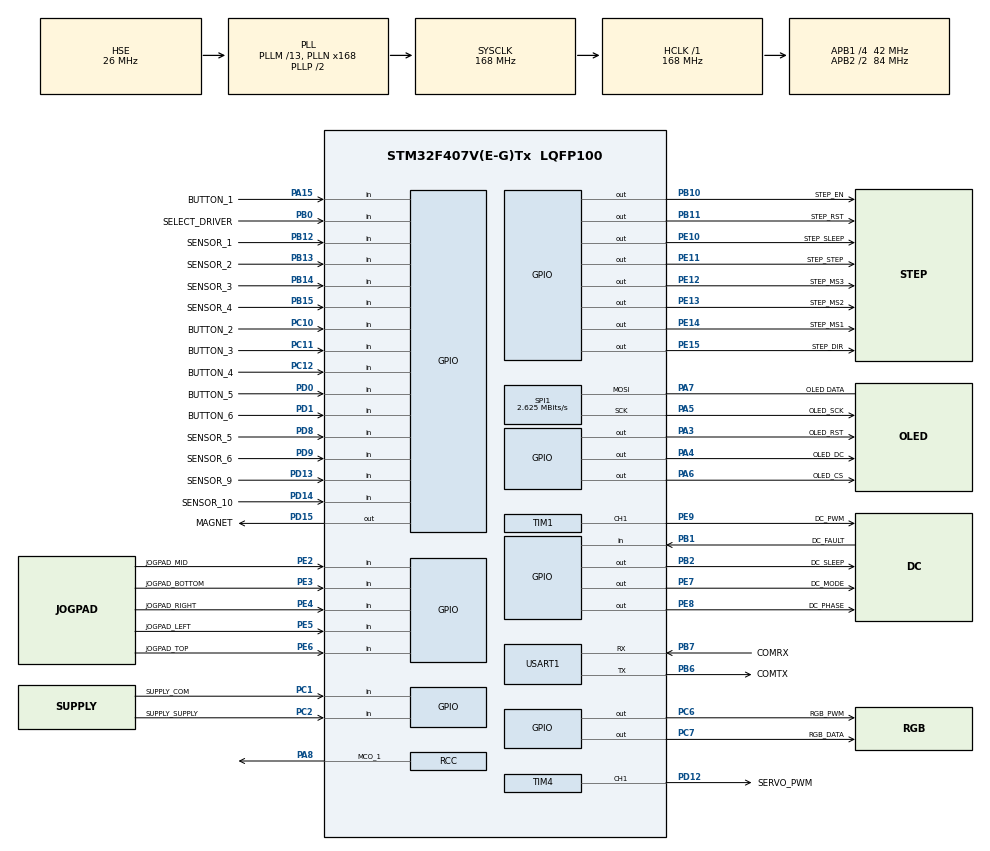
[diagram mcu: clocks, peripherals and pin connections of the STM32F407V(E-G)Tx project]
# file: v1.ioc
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Mcu.Family=STM32F4
Mcu.Name=STM32F407V(E-G)Tx
Mcu.Package=LQFP100
NVIC.PriorityGroup=NVIC_PRIORITYGROUP_4
NVIC.USART1_IRQn=true\:0\:0\:false\:true\:true\:1\:true\:true
PA13.Mode=Serial_Wire
PA13.Signal=SYS_JTMS-SWDIO
PA14.Mode=Serial_Wire
PA14.Signal=SYS_JTCK-SWCLK
PA15.GPIO_Label=BUTTON_1
PA15.GPIO_PuPd=GPIO_PULLDOWN
PA15.Signal=GPIO_Input
PA3.GPIO_Label=OLED_RST
PA3.GPIO_Speed=GPIO_SPEED_FREQ_MEDIUM
PA3.Signal=GPIO_Output
PA4.GPIO_Label=OLED_DC
PA4.GPIO_Speed=GPIO_SPEED_FREQ_MEDIUM
PA4.Signal=GPIO_Output
PA5.GPIO_Label=OLED_SCK
PA5.Mode=Simplex_Bidirectional_Master
PA5.Signal=SPI1_SCK
PA6.GPIO_Label=OLED_CS
PA6.GPIO_Speed=GPIO_SPEED_FREQ_MEDIUM
PA6.Signal=GPIO_Output
PA7.GPIO_Label=OLED DATA
PA7.Mode=Simplex_Bidirectional_Master
PA7.Signal=SPI1_MOSI
PA8.Mode=Clock-out-1
PA8.Signal=RCC_MCO_1
PB0.GPIO_Label=SELECT_DRIVER
PB0.GPIO_PuPd=GPIO_PULLDOWN
PB0.Signal=GPIO_Input
PB1.GPIO_Label=DC_FAULT
PB1.GPIO_PuPd=GPIO_PULLDOWN
PB1.Signal=GPIO_Input
PB10.GPIO_Label=STEP_EN
PB10.Signal=GPIO_Output
PB11.GPIO_Label=STEP_RST
PB11.Signal=GPIO_Output
PB12.GPIO_Label=SENSOR_1
PB12.GPIO_PuPd=GPIO_PULLDOWN
PB12.Signal=GPIO_Input
PB13.GPIO_Label=SENSOR_2
PB13.GPIO_PuPd=GPIO_PULLDOWN
PB13.Signal=GPIO_Input
PB14.GPIO_Label=SENSOR_3
PB14.GPIO_PuPd=GPIO_PULLDOWN
PB14.Signal=GPIO_Input
PB15.GPIO_Label=SENSOR_4
PB15.GPIO_PuPd=GPIO_PULLDOWN
PB15.Signal=GPIO_Input
PB2.GPIO_Label=DC_SLEEP
PB2.Signal=GPIO_Output
PB6.GPIO_Label=COMTX
PB6.Mode=Asynchronous
PB6.Signal=USART1_TX
PB7.GPIO_Label=COMRX
PB7.Mode=Asynchronous
PB7.Signal=USART1_RX
PC1.GPIO_Label=SUPPLY_COM
PC1.GPIO_PuPd=GPIO_PULLDOWN
PC1.Signal=GPIO_Input
PC10.GPIO_Label=BUTTON_2
PC10.GPIO_PuPd=GPIO_PULLDOWN
PC10.Signal=GPIO_Input
PC11.GPIO_Label=BUTTON_3
PC11.GPIO_PuPd=GPIO_PULLDOWN
PC11.Signal=GPIO_Input
PC12.GPIO_Label=BUTTON_4
PC12.GPIO_PuPd=GPIO_PULLDOWN
PC12.Signal=GPIO_Input
PC2.GPIO_Label=SUPPLY_SUPPLY
PC2.GPIO_PuPd=GPIO_PULLDOWN
PC2.Signal=GPIO_Input
PC6.GPIO_Label=RGB_PWM
PC6.GPIO_Speed=GPIO_SPEED_FREQ_VERY_HIGH
PC6.Signal=GPIO_Output
PC7.GPIO_Label=RGB_DATA
PC7.GPIO_Speed=GPIO_SPEED_FREQ_VERY_HIGH
PC7.Signal=GPIO_Output
PD0.GPIO_Label=BUTTON_5
PD0.GPIO_PuPd=GPIO_PULLDOWN
PD0.Signal=GPIO_Input
PD1.GPIO_Label=BUTTON_6
PD1.GPIO_PuPd=GPIO_PULLDOWN
PD1.Signal=GPIO_Input
PD12.GPIO_Label=SERVO_PWM
PD12.GPIO_Speed=GPIO_SPEED_FREQ_HIGH
PD12.Signal=S_TIM4_CH1
PD13.GPIO_Label=SENSOR_9
PD13.GPIO_PuPd=GPIO_PULLDOWN
PD13.Signal=GPIO_Input
PD14.GPIO_Label=SENSOR_10
PD14.GPIO_PuPd=GPIO_PULLDOWN
PD14.Signal=GPIO_Input
PD15.GPIO_Label=MAGNET
PD15.Signal=GPIO_Output
PD8.GPIO_Label=SENSOR_5
PD8.GPIO_PuPd=GPIO_PULLDOWN
PD8.Signal=GPIO_Input
PD9.GPIO_Label=SENSOR_6
PD9.GPIO_PuPd=GPIO_PULLDOWN
PD9.Signal=GPIO_Input
PE10.GPIO_Label=STEP_SLEEP
PE10.Signal=GPIO_Output
PE11.GPIO_Label=STEP_STEP
PE11.GPIO_Speed=GPIO_SPEED_FREQ_HIGH
PE11.Signal=GPIO_Output
PE12.GPIO_Label=STEP_MS3
PE12.GPIO_Speed=GPIO_SPEED_FREQ_LOW
PE12.Signal=GPIO_Output
PE13.GPIO_Label=STEP_MS2
PE13.Signal=GPIO_Output
PE14.GPIO_Label=STEP_MS1
PE14.Signal=GPIO_Output
PE15.GPIO_Label=STEP_DIR
PE15.Signal=GPIO_Output
PE2.GPIO_Label=JOGPAD_MID
PE2.GPIO_PuPd=GPIO_PULLDOWN
PE2.Signal=GPIO_Input
PE3.GPIO_Label=JOGPAD_BOTTOM
PE3.GPIO_PuPd=GPIO_PULLDOWN
PE3.Signal=GPIO_Input
PE4.GPIO_Label=JOGPAD_RIGHT
PE4.GPIO_PuPd=GPIO_PULLDOWN
PE4.Signal=GPIO_Input
PE5.GPIO_Label=JOGPAD_LEFT
PE5.GPIO_PuPd=GPIO_PULLDOWN
PE5.Signal=GPIO_Input
PE6.GPIO_Label=JOGPAD_TOP
PE6.GPIO_PuPd=GPIO_PULLDOWN
PE6.Signal=GPIO_Input
PE7.GPIO_Label=DC_MODE
PE7.Signal=GPIO_Output
PE8.GPIO_Label=DC_PHASE
PE8.Signal=GPIO_Output
PE9.GPIO_Label=DC_PWM
PE9.GPIO_Speed=GPIO_SPEED_FREQ_HIGH
PE9.Signal=S_TIM1_CH1
PH0-OSC_IN.Mode=HSE-External-Oscillator
PH0-OSC_IN.Signal=RCC_OSC_IN
PH1-OSC_OUT.Mode=HSE-External-Oscillator
PH1-OSC_OUT.Signal=RCC_OSC_OUT
ProjectManager.HeapSize=0x200
ProjectManager.StackSize=0x400
ProjectManager.TargetToolchain=SW4STM32
RCC.48MHZClocksFreq_Value=48000000
RCC.AHBFreq_Value=168000000
RCC.APB1CLKDivider=RCC_HCLK_DIV4
RCC.APB1Freq_Value=42000000
RCC.APB1TimFreq_Value=84000000
RCC.APB2CLKDivider=RCC_HCLK_DIV2
RCC.APB2Freq_Value=84000000
RCC.APB2TimFreq_Value=168000000
RCC.CortexFreq_Value=168000000
RCC.HCLKFreq_Value=168000000
RCC.HSE_VALUE=26000000
RCC.HSI_VALUE=16000000
RCC.LSE_VALUE=32768
RCC.PLLM=13
RCC.PLLN=168
RCC.PLLQ=7
RCC.PLLSourceVirtual=RCC_PLLSOURCE_HSE
RCC.SYSCLKFreq_VALUE=168000000
RCC.SYSCLKSource=RCC_SYSCLKSOURCE_PLLCLK
RCC.VCOOutputFreq_Value=336000000
SH.S_TIM1_CH1.0=TIM1_CH1,PWM Generation1 CH1
SH.S_TIM4_CH1.0=TIM4_CH1,PWM Generation1 CH1
SPI1.BaudRatePrescaler=SPI_BAUDRATEPRESCALER_32
SPI1.CalculateBaudRate=2.625 MBits/s
SPI1.Direction=SPI_DIRECTION_1LINE
SPI1.Mode=SPI_MODE_MASTER
SPI1.VirtualType=VM_MASTER
TIM1.Channel-PWM\ Generation1\ CH1=TIM_CHANNEL_1
TIM4.Channel-PWM\ Generation1\ CH1=TIM_CHANNEL_1
TIM4.Period=100
TIM4.Prescaler=84
USART1.VirtualMode=VM_ASYNC
VP_RNG_VS_RNG.Mode=RNG_Activate
VP_TIM1_VS_ClockSourceINT.Mode=Internal
VP_TIM4_VS_ClockSourceINT.Mode=Internal
board=custom

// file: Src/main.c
/* USER CODE BEGIN Header */
/**
  ******************************************************************************
  * @file           : main.c
  * @brief          : Main program body
  ******************************************************************************
  * @attention
  *
  * <h2><center>&copy; Copyright (c) 2020 STMicroelectronics.
  * All rights reserved.</center></h2>
  *
  * This software component is licensed by ST under BSD 3-Clause license,
  * the "License"; You may not use this file except in compliance with the
  * License. You may obtain a copy of the License at:
  *                        opensource.org/licenses/BSD-3-Clause
  *
  ******************************************************************************
  */
/* USER CODE END Header */
#include "main.h"

/* USER CODE BEGIN Includes */
#include <stdio.h>
#include "ssd1351.h"
#include "gfx.h"
#include "menu.h"
#include "COM.h"
#include "buttons.h"
#include "tlc5971.h"
#include "rng.h"
#include "motor.h"
#include "FLASH_SECTOR.h"
/* USER CODE END Includes */

RNG_HandleTypeDef hrng;

SPI_HandleTypeDef hspi1;

TIM_HandleTypeDef htim1;
TIM_HandleTypeDef htim4;

UART_HandleTypeDef huart1;

void SystemClock_Config(void);
static void MX_GPIO_Init(void);
static void MX_RNG_Init(void);
static void MX_SPI1_Init(void);
static void MX_TIM1_Init(void);
static void MX_TIM4_Init(void);
static void MX_USART1_UART_Init(void);
static void MX_NVIC_Init(void);
/* USER CODE BEGIN PFP */
void pin_cs(uint8_t pinstate);
void pin_dc(uint8_t pinstate);
void pin_rs(uint8_t pinstate);
void transmit_data(uint8_t *data, uint32_t len);
void user_delay_ms(uint32_t period);
/* USER CODE END PFP */

/* USER CODE BEGIN 0 */
char SUPPLY = 0; //COM = 0, SUPPLY = 1

//uint32_t Rx_Data[10];
char string[40];
/* USER CODE END 0 */

int main(void)
{
	/* USER CODE BEGIN 1 */
	char tempString[1];

	uint8_t method = 0;

	uint8_t RNG_Number[] = {0,0,0,0,0,0,0,0,0,0};

	uint16_t counter = 0;

	uint8_t BoxButtonPushed = 0;

	//uint32_t Rx_Data[10];
	//uint32_t data[] = {0xAAAAAAAA,0xAAAAAAAA,0xAAAAAAAA,0xAAAAAAAA};
	uint32_t data[] = {0xAAAAAAAA,0xAAAAAAAA,0xBBBBBBBB};

	uint8_t temp;
	char i = 0;

	char rightLED = 0;
	/* 0: amount led
	 * 1: right led
	 * 2: amount motor
	 * 3: right motor
	 */

	/* USER CODE END 1 */

	/* MCU Configuration--------------------------------------------------------*/

	/* Reset of all peripherals, Initializes the Flash interface and the Systick. */
	HAL_Init();

	/* Configure the system clock */
	SystemClock_Config();

	/* Initialize all configured peripherals */
	MX_GPIO_Init();
	MX_RNG_Init();
	MX_SPI1_Init();
	MX_TIM1_Init();
	MX_TIM4_Init();
	MX_USART1_UART_Init();

	/* Initialize interrupts */
	MX_NVIC_Init();
	/* USER CODE BEGIN 2 */
	HAL_GPIO_WritePin(GPIOB,GPIO_PIN_6,GPIO_PIN_RESET);

	//SETUP

	/*Flash_Read_Data(0x08060000, data);
	if(data[2] == 0)
	{
		data[0] = 0xAAAAAAAA;
		data[1] = 0xAAAAAAAA;
		//data[2] = 0xAAAAAAAA;
		//data[3] = 0xAAAAAAAA;
		Flash_Write_Data(0x08060000, data);
	}

	//TEMP--------------------------------------
	data[0] = 0xAAAAAAAA + 100;
	data[1] = 0xAAAAAAAA + 55;
	//data[2] = 0xAAAAAAAA + 100;
	//data[3] = 0xAAAAAAAA + 44;
	//------------------------------------------

	//data[0] += 10;

	Flash_Write_Data(0x08060000, data);
	Flash_Read_Data(0x08060000, data);
	//Convert_To_Str(Rx_Data, string);
	/* */
	//while(1);
	/*
	int c = 0;

	COM_TX("DONE\r\n");

*//*
	Stepper_Init();
	Stepper_GOHOME();
	HAL_Delay(500);
	StepperGetMagnet();
	magnet(0);
	Stepper_Deinit();
	while(1);
*/

	s_ssd1351 fnptrs_main;

	fnptrs_main.pin_cs = pin_cs;
	fnptrs_main.pin_rs = pin_rs;
	fnptrs_main.pin_dc = pin_dc;
	fnptrs_main.transmit_data = transmit_data;
	fnptrs_main.delay = user_delay_ms;

	init_oled(1,1, &fnptrs_main);

	RGB_setLED(1,30000,2000,30000);
	RGB_setLED(2,30000,2000,30000);
	RGB_setLED(3,30000,2000,30000);
	RGB_setLED(4,30000,2000,30000);
	RGB_setLED(5,30000,2000,30000);
	RGB_setLED(6,30000,2000,30000);
	RGB_setLED(7,0,0,0);
	RGB_setLED(8,0,0,0);

	RGB_Setup();
	RGB_SHOW();

	COM_TX("START\r\n");

	SetMenu(4);
	HAL_Delay(1000);

	if(HAL_GPIO_ReadPin(SUPPLY_SUPPLY_GPIO_Port,SUPPLY_SUPPLY_Pin))
	{
		SetMenu(1);
		Servo_init();
	}
	else
	{
		SetMenu(7);
	}

	/* USER CODE END 2 */

	/* Infinite loop */
	while (1)
	{
		Button_manager(ReadJogpad());

		/*if(Menu_Flags(4,0))
		{
			method = 0;
		}*/
		if(Menu_Flags(3,0))
		{
			if(Menu_Flags(0,0))
			{
				method = 1;
			}
			else if(Menu_Flags(1,0))
			{
				method = 2;
			}
			else
			{
				method = 0;
			}
		}

		BoxButtonPushed = 0;

		switch(method)
		{
		//LEDS
		case 1:

			for(i = 0; i != 8; i ++)
			{
				RGB_setLED(i,0,0,0);
			}
			for(i=0; i != 4; i++)
			{
				RGB_setLED(1,12000,0,6000);
				RGB_SHOW();
				HAL_Delay(500);

				RGB_setLED(1,0,0,0);
				RGB_SHOW();
				HAL_Delay(500);
			}
			blankscreen(colors.blue);

			for(counter = 0; counter != 50; counter ++)
			{
				RNG_Prepare(RNG_Number);
				//Wrong
				/*
				RGB_setLED(1,RNG_Number[1]*10000,RNG_Number[1]*2000,0);
				RGB_setLED(2,RNG_Number[2]*10000,RNG_Number[2]*2000,0);
				RGB_setLED(3,RNG_Number[3]*10000,RNG_Number[3]*2000,0);
				RGB_setLED(4,RNG_Number[4]*10000,RNG_Number[4]*2000,0);
				RGB_setLED(5,RNG_Number[5]*10000,RNG_Number[5]*2000,0);
				RGB_setLED(6,RNG_Number[6]*10000,RNG_Number[6]*2000,0);
				*/
				RGB_setLED(1, RNG_Number[1]*RNG_Number[8]*1000,	RNG_Number[4]*RNG_Number[3]*1000,	RNG_Number[7]*RNG_Number[6]*1000);
				RGB_setLED(2, RNG_Number[2]*RNG_Number[7]*1000,	RNG_Number[5]*RNG_Number[2]*1000,	RNG_Number[8]*RNG_Number[5]*1000);
				RGB_setLED(3, RNG_Number[3]*RNG_Number[6]*1000,	RNG_Number[6]*RNG_Number[1]*1000,	RNG_Number[9]*RNG_Number[4]*1000);
				RGB_setLED(4, RNG_Number[4]*RNG_Number[1]*1000,	RNG_Number[7]*RNG_Number[4]*1000,	RNG_Number[0]*RNG_Number[3]*1000);
				RGB_setLED(5, RNG_Number[5]*RNG_Number[9]*1000,	RNG_Number[8]*RNG_Number[5]*1000,	RNG_Number[1]*RNG_Number[2]*1000);
				RGB_setLED(6, RNG_Number[6]*RNG_Number[4]*1000,	RNG_Number[9]*RNG_Number[6]*1000,	RNG_Number[2]*RNG_Number[1]*1000);
				RGB_setLED(7,0,0,0);
				RGB_setLED(8,0,0,0);

				/*
				RGB_setLED(1,30000,1000,0);
				RGB_setLED(2,30000,1000,0);
				RGB_setLED(3,30000,1000,0);
				RGB_setLED(4,30000,1000,0);
				RGB_setLED(5,30000,1000,0);
				RGB_setLED(6,30000,1000,0);*/
				//Right
				RGB_setLED(RNG_Number[0],RNG_Number[0]*6000,RNG_Number[0]*0,RNG_Number[0]*3000);
				RGB_SHOW();
				HAL_Delay(100);

				if(!(counter >= 49))
				{
					for(i = 0; i != 10; i++)
					{
						RNG_Number[i] = 0;
					}
				}
			}
			RGB_setLED(1,10000,2000,0);
			RGB_setLED(2,10000,2000,0);
			RGB_setLED(3,10000,2000,0);
			RGB_setLED(4,10000,2000,0);
			RGB_setLED(5,10000,2000,0);
			RGB_setLED(6,10000,2000,0);
			//Right
			RGB_setLED(RNG_Number[0],10000,2000,0);
			RGB_SHOW();
			SetMenu(8);
			COM_TX("[LED]: Right: ");
			sprintf(tempString, "%i", (int)RNG_Number[0]);
			COM_TX(tempString);
			COM_TX("\r\n");

			/*
			while(!BoxButtonPushed)
			{
				for(counter = 1; counter <= 6; counter++ )
				{
					if(ReadButtons(counter))
					{
						BoxButtonPushed = 1;
						break;
					}
				}
			}*/

			while(!BoxButtonPushed)
			{
				for(counter = 1; counter <= 6; counter++ )
				{
					if(ReadButtons(counter))
					{
						BoxButtonPushed = 1;
						break;
					}
				}
			}
			COM_TX("[LED]: Guessed: ");
			sprintf(tempString, "%i", (int)counter);
			COM_TX(tempString);
			COM_TX("\r\n");

			temp = counter;
			for(counter = 1; counter <= 8; counter++ )
			{
				RGB_setLED(counter,0,0,0);
			}
			RGB_setLED(temp,0,0,30000);
			RGB_SHOW();
			HAL_Delay(3000);

			//true
			if(counter == RNG_Number[0])
			{
				RGB_setLED(counter,0,30000,0);

			}
			//wrong
			else
			{
				//uint8_t temp = counter;
				for(counter = 1; counter <= 8; counter++ )
				{
					RGB_setLED(counter,0,0,0);
				}
				RGB_setLED(temp,30000,0,0);
				RGB_setLED(RNG_Number[0],0,30000,0);
			}
			RGB_SHOW();

			/*
			if(HAL_GPIO_ReadPin(SUPPLY_SUPPLY_GPIO_Port,SUPPLY_SUPPLY_Pin))
			{
				SetMenu(1);
			}
			else
			{
				SetMenu(7);
			}*/
			Menu_Flags(0,1);
			SetMenu(2);
			method = 0;

			break;
		//MOTOR
		case 2:

			/*
			0: move 1
			1: move 2
			2: move 3
			3: move 4
			4: move 5
			5: move 6
			6: start
			7: moves
			8: drop
			*/

			RNG_Prepare(RNG_Number);
//////////////////////////////////////////
			//while(1);
//////////////////////////////////////////
			Servo_close();
			Stepper_Init();
			Stepper_StepSize(1);
			Stepper_GOHOME();
			HAL_Delay(500);
			StepperGetMagnet();
			Stepper_Deinit();

			Stepper_StepSize(1);
			HAL_Delay(100);

			for(i = 0; i != 8; i ++)
			{
				RGB_setLED(i,0,0,0);
			}
			for(i=0; i != 4; i++)
			{
				RGB_setLED(1,12000,0,6000);
				RGB_SHOW();
				HAL_Delay(500);

				RGB_setLED(1,0,0,0);
				RGB_SHOW();
				HAL_Delay(500);
			}
			blankscreen(colors.blue);

			COM_TX("[MOTOR]: Right: ");
			sprintf(tempString, "%i", (int)RNG_Number[8]);
			COM_TX(tempString);
			COM_TX("\r\n");
			Stepper_Init();
			HAL_Delay(200);
			Stepper_Goto(RNG_Number[6]);

			HAL_Delay(100);
			//for(counter = 0; counter != RNG_Number[7]; counter++ )
			for(counter = 0; counter != 6; counter++ )
			{
				Stepper_Goto(RNG_Number[counter]);
				if(RNG_Number[8] - 1  == counter)
				{
					magnet(0);
					rightLED = RNG_Number[counter];
					//HAL_Delay(1000);
				}
				HAL_Delay(300);
			}

			Stepper_Deinit();
			char c;

			for(c = 1; c!= 7; c++)
			{
				RGB_setLED(c,10000,2000,0);
			}

			RGB_setLED(7,0,0,0);
			RGB_setLED(8,0,0,0);
			RGB_SHOW();

			SetMenu(8);

			while(!BoxButtonPushed)
			{
				for(counter = 1; counter <= 6; counter++ )
				{
					if(ReadButtons(counter))
					{
						BoxButtonPushed = 1;
						break;
					}
				}
			}

			COM_TX("[MOTOR]: Guessed: ");
			sprintf(tempString, "%i", (int)counter);
			COM_TX(tempString);
			COM_TX("\r\n");

			temp = counter;
			for(counter = 1; counter <= 8; counter++ )
			{
				RGB_setLED(counter,0,0,0);
			}
			RGB_setLED(temp,0,0,30000);
			RGB_SHOW();
			HAL_Delay(3000);

			Servo_open();
			//true
			//if(temp == RNG_Number[RNG_Number[8]-1])
			if(temp == rightLED)
			{
				RGB_setLED(temp,0,30000,0);

			}
			//wrong
			else
			{
				//uint8_t temp = counter;
				for(counter = 1; counter <= 8; counter++ )
				{
					RGB_setLED(counter,0,0,0);
				}
				RGB_setLED(temp,30000,0,0);
				RGB_setLED(RNG_Number[0],0,30000,0);
			}
			RGB_SHOW();

			/*if(HAL_GPIO_ReadPin(SUPPLY_SUPPLY_GPIO_Port,SUPPLY_SUPPLY_Pin))
			{
				SetMenu(1);
			}
			else
			{
				SetMenu(7);
			}*/

			Menu_Flags(1,1);
			SetMenu(2);
			method = 0;
			break;
		default:
			break;
		}
		counter = 0;
	}
}

void SystemClock_Config(void)
{
  RCC_OscInitTypeDef RCC_OscInitStruct = {0};
  RCC_ClkInitTypeDef RCC_ClkInitStruct = {0};

  /** Configure the main internal regulator output voltage
  */
  __HAL_RCC_PWR_CLK_ENABLE();
  __HAL_PWR_VOLTAGESCALING_CONFIG(PWR_REGULATOR_VOLTAGE_SCALE1);
  /** Initializes the RCC Oscillators according to the specified parameters
  * in the RCC_OscInitTypeDef structure.
  */
  RCC_OscInitStruct.OscillatorType = RCC_OSCILLATORTYPE_HSI|RCC_OSCILLATORTYPE_HSE;
  RCC_OscInitStruct.HSEState = RCC_HSE_ON;
  RCC_OscInitStruct.HSIState = RCC_HSI_ON;
  RCC_OscInitStruct.HSICalibrationValue = RCC_HSICALIBRATION_DEFAULT;
  RCC_OscInitStruct.PLL.PLLState = RCC_PLL_ON;
  RCC_OscInitStruct.PLL.PLLSource = RCC_PLLSOURCE_HSE;
  RCC_OscInitStruct.PLL.PLLM = 13;
  RCC_OscInitStruct.PLL.PLLN = 168;
  RCC_OscInitStruct.PLL.PLLP = RCC_PLLP_DIV2;
  RCC_OscInitStruct.PLL.PLLQ = 7;
  if (HAL_RCC_OscConfig(&RCC_OscInitStruct) != HAL_OK)
  {
    Error_Handler();
  }
  /** Initializes the CPU, AHB and APB buses clocks
  */
  RCC_ClkInitStruct.ClockType = RCC_CLOCKTYPE_HCLK|RCC_CLOCKTYPE_SYSCLK
                              |RCC_CLOCKTYPE_PCLK1|RCC_CLOCKTYPE_PCLK2;
  RCC_ClkInitStruct.SYSCLKSource = RCC_SYSCLKSOURCE_PLLCLK;
  RCC_ClkInitStruct.AHBCLKDivider = RCC_SYSCLK_DIV1;
  RCC_ClkInitStruct.APB1CLKDivider = RCC_HCLK_DIV4;
  RCC_ClkInitStruct.APB2CLKDivider = RCC_HCLK_DIV2;

  if (HAL_RCC_ClockConfig(&RCC_ClkInitStruct, FLASH_LATENCY_5) != HAL_OK)
  {
    Error_Handler();
  }
  HAL_RCC_MCOConfig(RCC_MCO1, RCC_MCO1SOURCE_HSI, RCC_MCODIV_1);
}

/**
  * @brief NVIC Configuration.
  * @retval None
  */
static void MX_NVIC_Init(void)
{
  /* USART1_IRQn interrupt configuration */
  HAL_NVIC_SetPriority(USART1_IRQn, 0, 0);
  HAL_NVIC_EnableIRQ(USART1_IRQn);
}

static void MX_RNG_Init(void)
{

  hrng.Instance = RNG;
  if (HAL_RNG_Init(&hrng) != HAL_OK)
  {
    Error_Handler();
  }

}

static void MX_SPI1_Init(void)
{

  /* SPI1 parameter configuration*/
  hspi1.Instance = SPI1;
  hspi1.Init.Mode = SPI_MODE_MASTER;
  hspi1.Init.Direction = SPI_DIRECTION_1LINE;
  hspi1.Init.DataSize = SPI_DATASIZE_8BIT;
  hspi1.Init.CLKPolarity = SPI_POLARITY_LOW;
  hspi1.Init.CLKPhase = SPI_PHASE_1EDGE;
  hspi1.Init.NSS = SPI_NSS_SOFT;
  hspi1.Init.BaudRatePrescaler = SPI_BAUDRATEPRESCALER_32;
  hspi1.Init.FirstBit = SPI_FIRSTBIT_MSB;
  hspi1.Init.TIMode = SPI_TIMODE_DISABLE;
  hspi1.Init.CRCCalculation = SPI_CRCCALCULATION_DISABLE;
  hspi1.Init.CRCPolynomial = 10;
  if (HAL_SPI_Init(&hspi1) != HAL_OK)
  {
    Error_Handler();
  }

}

static void MX_TIM1_Init(void)
{

  TIM_ClockConfigTypeDef sClockSourceConfig = {0};
  TIM_MasterConfigTypeDef sMasterConfig = {0};
  TIM_OC_InitTypeDef sConfigOC = {0};
  TIM_BreakDeadTimeConfigTypeDef sBreakDeadTimeConfig = {0};

  htim1.Instance = TIM1;
  htim1.Init.Prescaler = 0;
  htim1.Init.CounterMode = TIM_COUNTERMODE_UP;
  htim1.Init.Period = 65535;
  htim1.Init.ClockDivision = TIM_CLOCKDIVISION_DIV1;
  htim1.Init.RepetitionCounter = 0;
  htim1.Init.AutoReloadPreload = TIM_AUTORELOAD_PRELOAD_DISABLE;
  if (HAL_TIM_Base_Init(&htim1) != HAL_OK)
  {
    Error_Handler();
  }
  sClockSourceConfig.ClockSource = TIM_CLOCKSOURCE_INTERNAL;
  if (HAL_TIM_ConfigClockSource(&htim1, &sClockSourceConfig) != HAL_OK)
  {
    Error_Handler();
  }
  if (HAL_TIM_PWM_Init(&htim1) != HAL_OK)
  {
    Error_Handler();
  }
  sMasterConfig.MasterOutputTrigger = TIM_TRGO_RESET;
  sMasterConfig.MasterSlaveMode = TIM_MASTERSLAVEMODE_DISABLE;
  if (HAL_TIMEx_MasterConfigSynchronization(&htim1, &sMasterConfig) != HAL_OK)
  {
    Error_Handler();
  }
  sConfigOC.OCMode = TIM_OCMODE_PWM1;
  sConfigOC.Pulse = 0;
  sConfigOC.OCPolarity = TIM_OCPOLARITY_HIGH;
  sConfigOC.OCNPolarity = TIM_OCNPOLARITY_HIGH;
  sConfigOC.OCFastMode = TIM_OCFAST_DISABLE;
  sConfigOC.OCIdleState = TIM_OCIDLESTATE_RESET;
  sConfigOC.OCNIdleState = TIM_OCNIDLESTATE_RESET;
  if (HAL_TIM_PWM_ConfigChannel(&htim1, &sConfigOC, TIM_CHANNEL_1) != HAL_OK)
  {
    Error_Handler();
  }
  sBreakDeadTimeConfig.OffStateRunMode = TIM_OSSR_DISABLE;
  sBreakDeadTimeConfig.OffStateIDLEMode = TIM_OSSI_DISABLE;
  sBreakDeadTimeConfig.LockLevel = TIM_LOCKLEVEL_OFF;
  sBreakDeadTimeConfig.DeadTime = 0;
  sBreakDeadTimeConfig.BreakState = TIM_BREAK_DISABLE;
  sBreakDeadTimeConfig.BreakPolarity = TIM_BREAKPOLARITY_HIGH;
  sBreakDeadTimeConfig.AutomaticOutput = TIM_AUTOMATICOUTPUT_DISABLE;
  if (HAL_TIMEx_ConfigBreakDeadTime(&htim1, &sBreakDeadTimeConfig) != HAL_OK)
  {
    Error_Handler();
  }
  HAL_TIM_MspPostInit(&htim1);

}

static void MX_TIM4_Init(void)
{

  TIM_ClockConfigTypeDef sClockSourceConfig = {0};
  TIM_MasterConfigTypeDef sMasterConfig = {0};
  TIM_OC_InitTypeDef sConfigOC = {0};

  htim4.Instance = TIM4;
  htim4.Init.Prescaler = 1806;
  htim4.Init.CounterMode = TIM_COUNTERMODE_UP;
  htim4.Init.Period = 1000;
  htim4.Init.ClockDivision = TIM_CLOCKDIVISION_DIV1;
  htim4.Init.AutoReloadPreload = TIM_AUTORELOAD_PRELOAD_DISABLE;
  if (HAL_TIM_Base_Init(&htim4) != HAL_OK)
  {
    Error_Handler();
  }
  sClockSourceConfig.ClockSource = TIM_CLOCKSOURCE_INTERNAL;
  if (HAL_TIM_ConfigClockSource(&htim4, &sClockSourceConfig) != HAL_OK)
  {
    Error_Handler();
  }
  if (HAL_TIM_PWM_Init(&htim4) != HAL_OK)
  {
    Error_Handler();
  }
  sMasterConfig.MasterOutputTrigger = TIM_TRGO_RESET;
  sMasterConfig.MasterSlaveMode = TIM_MASTERSLAVEMODE_DISABLE;
  if (HAL_TIMEx_MasterConfigSynchronization(&htim4, &sMasterConfig) != HAL_OK)
  {
    Error_Handler();
  }
  sConfigOC.OCMode = TIM_OCMODE_PWM1;
  sConfigOC.Pulse = 0;
  sConfigOC.OCPolarity = TIM_OCPOLARITY_HIGH;
  sConfigOC.OCFastMode = TIM_OCFAST_DISABLE;
  if (HAL_TIM_PWM_ConfigChannel(&htim4, &sConfigOC, TIM_CHANNEL_1) != HAL_OK)
  {
    Error_Handler();
  }
  HAL_TIM_MspPostInit(&htim4);

}

static void MX_USART1_UART_Init(void)
{

  huart1.Instance = USART1;
  huart1.Init.BaudRate = 115200;
  huart1.Init.WordLength = UART_WORDLENGTH_8B;
  huart1.Init.StopBits = UART_STOPBITS_1;
  huart1.Init.Parity = UART_PARITY_NONE;
  huart1.Init.Mode = UART_MODE_TX_RX;
  huart1.Init.HwFlowCtl = UART_HWCONTROL_NONE;
  huart1.Init.OverSampling = UART_OVERSAMPLING_16;
  if (HAL_UART_Init(&huart1) != HAL_OK)
  {
    Error_Handler();
  }

}

static void MX_GPIO_Init(void)
{
  GPIO_InitTypeDef GPIO_InitStruct = {0};

  /* GPIO Ports Clock Enable */
  __HAL_RCC_GPIOE_CLK_ENABLE();
  __HAL_RCC_GPIOH_CLK_ENABLE();
  __HAL_RCC_GPIOC_CLK_ENABLE();
  __HAL_RCC_GPIOA_CLK_ENABLE();
  __HAL_RCC_GPIOB_CLK_ENABLE();
  __HAL_RCC_GPIOD_CLK_ENABLE();

  /*Configure GPIO pin Output Level */
  HAL_GPIO_WritePin(GPIOA, OLED_RST_Pin|OLED_DC_Pin|OLED_CS_Pin, GPIO_PIN_RESET);

  /*Configure GPIO pin Output Level */
  HAL_GPIO_WritePin(GPIOB, DC_SLEEP_Pin|STEP_EN_Pin|STEP_RST_Pin, GPIO_PIN_RESET);

  /*Configure GPIO pin Output Level */
  HAL_GPIO_WritePin(GPIOE, DC_MODE_Pin|DC_PHASE_Pin|STEP_SLEEP_Pin|STEP_STEP_Pin
                          |STEP_MS3_Pin|STEP_MS2_Pin|STEP_MS1_Pin|STEP_DIR_Pin, GPIO_PIN_RESET);

  /*Configure GPIO pin Output Level */
  HAL_GPIO_WritePin(MAGNET_GPIO_Port, MAGNET_Pin, GPIO_PIN_RESET);

  /*Configure GPIO pin Output Level */
  HAL_GPIO_WritePin(GPIOC, RGB_PWM_Pin|RGB_DATA_Pin, GPIO_PIN_RESET);

  /*Configure GPIO pins : JOGPAD_MID_Pin JOGPAD_BOTTOM_Pin JOGPAD_RIGHT_Pin JOGPAD_LEFT_Pin
                           JOGPAD_TOP_Pin */
  GPIO_InitStruct.Pin = JOGPAD_MID_Pin|JOGPAD_BOTTOM_Pin|JOGPAD_RIGHT_Pin|JOGPAD_LEFT_Pin
                          |JOGPAD_TOP_Pin;
  GPIO_InitStruct.Mode = GPIO_MODE_INPUT;
  GPIO_InitStruct.Pull = GPIO_PULLDOWN;
  HAL_GPIO_Init(GPIOE, &GPIO_InitStruct);

  /*Configure GPIO pins : SUPPLY_COM_Pin SUPPLY_SUPPLY_Pin BUTTON_2_Pin BUTTON_3_Pin
                           BUTTON_4_Pin */
  GPIO_InitStruct.Pin = SUPPLY_COM_Pin|SUPPLY_SUPPLY_Pin|BUTTON_2_Pin|BUTTON_3_Pin
                          |BUTTON_4_Pin;
  GPIO_InitStruct.Mode = GPIO_MODE_INPUT;
  GPIO_InitStruct.Pull = GPIO_PULLDOWN;
  HAL_GPIO_Init(GPIOC, &GPIO_InitStruct);

  /*Configure GPIO pins : OLED_RST_Pin OLED_DC_Pin OLED_CS_Pin */
  GPIO_InitStruct.Pin = OLED_RST_Pin|OLED_DC_Pin|OLED_CS_Pin;
  GPIO_InitStruct.Mode = GPIO_MODE_OUTPUT_PP;
  GPIO_InitStruct.Pull = GPIO_NOPULL;
  GPIO_InitStruct.Speed = GPIO_SPEED_FREQ_MEDIUM;
  HAL_GPIO_Init(GPIOA, &GPIO_InitStruct);

  /*Configure GPIO pins : SELECT_DRIVER_Pin DC_FAULT_Pin SENSOR_1_Pin SENSOR_2_Pin
                           SENSOR_3_Pin SENSOR_4_Pin */
  GPIO_InitStruct.Pin = SELECT_DRIVER_Pin|DC_FAULT_Pin|SENSOR_1_Pin|SENSOR_2_Pin
                          |SENSOR_3_Pin|SENSOR_4_Pin;
  GPIO_InitStruct.Mode = GPIO_MODE_INPUT;
  GPIO_InitStruct.Pull = GPIO_PULLDOWN;
  HAL_GPIO_Init(GPIOB, &GPIO_InitStruct);

  /*Configure GPIO pins : DC_SLEEP_Pin STEP_EN_Pin STEP_RST_Pin */
  GPIO_InitStruct.Pin = DC_SLEEP_Pin|STEP_EN_Pin|STEP_RST_Pin;
  GPIO_InitStruct.Mode = GPIO_MODE_OUTPUT_PP;
  GPIO_InitStruct.Pull = GPIO_NOPULL;
  GPIO_InitStruct.Speed = GPIO_SPEED_FREQ_LOW;
  HAL_GPIO_Init(GPIOB, &GPIO_InitStruct);

  /*Configure GPIO pins : DC_MODE_Pin DC_PHASE_Pin STEP_SLEEP_Pin STEP_MS3_Pin
                           STEP_MS2_Pin STEP_MS1_Pin STEP_DIR_Pin */
  GPIO_InitStruct.Pin = DC_MODE_Pin|DC_PHASE_Pin|STEP_SLEEP_Pin|STEP_MS3_Pin
                          |STEP_MS2_Pin|STEP_MS1_Pin|STEP_DIR_Pin;
  GPIO_InitStruct.Mode = GPIO_MODE_OUTPUT_PP;
  GPIO_InitStruct.Pull = GPIO_NOPULL;
  GPIO_InitStruct.Speed = GPIO_SPEED_FREQ_LOW;
  HAL_GPIO_Init(GPIOE, &GPIO_InitStruct);

  /*Configure GPIO pin : STEP_STEP_Pin */
  GPIO_InitStruct.Pin = STEP_STEP_Pin;
  GPIO_InitStruct.Mode = GPIO_MODE_OUTPUT_PP;
  GPIO_InitStruct.Pull = GPIO_NOPULL;
  GPIO_InitStruct.Speed = GPIO_SPEED_FREQ_HIGH;
  HAL_GPIO_Init(STEP_STEP_GPIO_Port, &GPIO_InitStruct);

  /*Configure GPIO pins : SENSOR_5_Pin SENSOR_6_Pin SENSOR_9_Pin SENSOR_10_Pin
                           BUTTON_5_Pin BUTTON_6_Pin */
  GPIO_InitStruct.Pin = SENSOR_5_Pin|SENSOR_6_Pin|SENSOR_9_Pin|SENSOR_10_Pin
                          |BUTTON_5_Pin|BUTTON_6_Pin;
  GPIO_InitStruct.Mode = GPIO_MODE_INPUT;
  GPIO_InitStruct.Pull = GPIO_PULLDOWN;
  HAL_GPIO_Init(GPIOD, &GPIO_InitStruct);

  /*Configure GPIO pin : MAGNET_Pin */
  GPIO_InitStruct.Pin = MAGNET_Pin;
  GPIO_InitStruct.Mode = GPIO_MODE_OUTPUT_PP;
  GPIO_InitStruct.Pull = GPIO_NOPULL;
  GPIO_InitStruct.Speed = GPIO_SPEED_FREQ_LOW;
  HAL_GPIO_Init(MAGNET_GPIO_Port, &GPIO_InitStruct);

  /*Configure GPIO pins : RGB_PWM_Pin RGB_DATA_Pin */
  GPIO_InitStruct.Pin = RGB_PWM_Pin|RGB_DATA_Pin;
  GPIO_InitStruct.Mode = GPIO_MODE_OUTPUT_PP;
  GPIO_InitStruct.Pull = GPIO_NOPULL;
  GPIO_InitStruct.Speed = GPIO_SPEED_FREQ_MEDIUM;
  HAL_GPIO_Init(GPIOC, &GPIO_InitStruct);

  /*Configure GPIO pin : PA8 */
  GPIO_InitStruct.Pin = GPIO_PIN_8;
  GPIO_InitStruct.Mode = GPIO_MODE_AF_PP;
  GPIO_InitStruct.Pull = GPIO_NOPULL;
  GPIO_InitStruct.Speed = GPIO_SPEED_FREQ_LOW;
  GPIO_InitStruct.Alternate = GPIO_AF0_MCO;
  HAL_GPIO_Init(GPIOA, &GPIO_InitStruct);

  /*Configure GPIO pin : BUTTON_1_Pin */
  GPIO_InitStruct.Pin = BUTTON_1_Pin;
  GPIO_InitStruct.Mode = GPIO_MODE_INPUT;
  GPIO_InitStruct.Pull = GPIO_PULLDOWN;
  HAL_GPIO_Init(BUTTON_1_GPIO_Port, &GPIO_InitStruct);

}

/* USER CODE BEGIN 4 */
void pin_cs(uint8_t pinstate)
{
	HAL_GPIO_WritePin(OLED_CS_GPIO_Port, OLED_CS_Pin, pinstate);
}

void pin_dc(uint8_t pinstate)
{
	HAL_GPIO_WritePin(OLED_CS_GPIO_Port, OLED_DC_Pin, pinstate);
}

void pin_rs(uint8_t pinstate)
{
	HAL_GPIO_WritePin(OLED_CS_GPIO_Port, OLED_RST_Pin, pinstate);
}

void transmit_data(uint8_t *data, uint32_t len)
{
	HAL_SPI_Transmit(&hspi1, data, len, 1000);
}
void user_delay_ms(uint32_t period)
{
	HAL_Delay(period);
}
/* USER CODE END 4 */

void Error_Handler(void)
{
}

/************************ (C) COPYRIGHT STMicroelectronics *****END OF FILE****/
